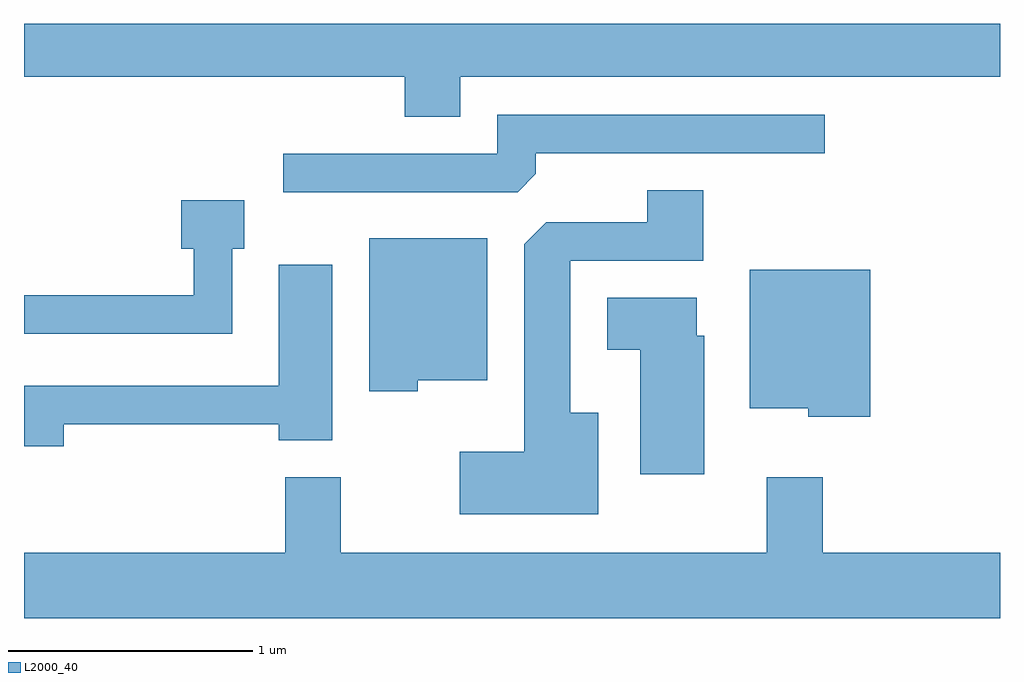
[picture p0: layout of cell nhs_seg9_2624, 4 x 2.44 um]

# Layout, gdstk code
import gdstk
lib = gdstk.Library(unit=1e-6, precision=1e-09)
def P(c, l, *ps):  # polygons
    for p in ps: c.add(gdstk.Polygon(p, *l))
L2000_40 = (2000, 40)

nhs_seg9_2624 = lib.new_cell('nhs_seg9_2624')
P(nhs_seg9_2624, L2000_40, [(263.399,2036.216),(265.611,2036.216),(265.611,2036.432),(261.611,2036.432),(261.611,2036.216),(263.171,2036.216),(263.171,2036.051),(263.399,2036.051)],
  [(263.709,2035.817),(263.709,2035.901),(264.893,2035.901),(264.893,2036.059),(263.551,2036.059),(263.551,2035.899),(262.673,2035.899),(262.673,2035.741),(263.634,2035.741)],
  [(263.964,2034.839),(263.849,2034.839),(263.849,2035.461),(264.394,2035.461),(264.394,2035.749),(264.166,2035.749),(264.166,2035.619),(263.752,2035.619),(263.661,2035.529),(263.661,2034.679),(263.396,2034.679),(263.396,2034.421),(263.964,2034.421)],
  [(262.464,2035.511),(262.514,2035.511),(262.514,2035.709),(262.256,2035.709),(262.256,2035.511),(262.306,2035.511),(262.306,2035.319),(261.611,2035.319),(261.611,2035.161),(262.464,2035.161)],
  [(263.224,2034.971),(263.509,2034.971),(263.509,2035.554),(263.026,2035.554),(263.026,2034.926),(263.224,2034.926)],
  [(261.774,2034.791),(262.656,2034.791),(262.656,2034.726),(262.874,2034.726),(262.874,2035.444),(262.656,2035.444),(262.656,2034.949),(261.611,2034.949),(261.611,2034.701),(261.774,2034.701)],
  [(265.079,2035.424),(264.586,2035.424),(264.586,2034.856),(264.826,2034.856),(264.826,2034.821),(265.079,2034.821)],
  [(264.399,2035.154),(264.369,2035.154),(264.369,2035.309),(264.001,2035.309),(264.001,2035.096),(264.136,2035.096),(264.136,2034.586),(264.399,2034.586)],
  [(265.611,2034.264),(264.884,2034.264),(264.884,2034.574),(264.656,2034.574),(264.656,2034.264),(262.909,2034.264),(262.909,2034.574),(262.681,2034.574),(262.681,2034.264),(261.611,2034.264),(261.611,2033.996),(265.611,2033.996)])

lib.write_gds('nhs_seg9_2624.gds')
